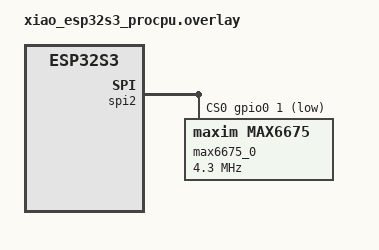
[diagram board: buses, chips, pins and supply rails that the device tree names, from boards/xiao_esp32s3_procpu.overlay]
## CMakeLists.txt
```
cmake_minimum_required(VERSION 3.20.0)

find_package(Zephyr REQUIRED HINTS $ENV{ZEPHYR_BASE})
project(horno_reflujo)

target_include_directories(app PRIVATE lib)

target_sources(app PRIVATE
	src/main.c
	lib/oven/oven_control.c
	lib/ble/oven_ble.c
	lib/drivers/thermocouple.c
)
```

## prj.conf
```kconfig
# --- Horno de reflujo SMD ---

# Logs
CONFIG_LOG=y
CONFIG_LOG_DEFAULT_LEVEL=3

# Configuración bluetooth
CONFIG_BT=y
CONFIG_BT_PERIPHERAL=y
CONFIG_BT_DEVICE_NAME="Test horno"

# Termocupla K + MAX6675 (SPI)
CONFIG_SPI=y
CONFIG_SENSOR=y
```

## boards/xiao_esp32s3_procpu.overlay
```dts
#include <zephyr/dt-bindings/gpio/gpio.h>

/*
 * Horno de reflujo SMD - termocupla tipo K via MAX6675 (SPI).
 *
 * El bus SPI (spi2, alias "xiao_spi") ya viene habilitado por la placa con
 * sus pines por defecto:
 *   SCLK = GPIO7  -> pin D8 del conector
 *   MISO = GPIO8  -> pin D9  (esta es la salida SO del MAX6675)
 *   MOSI = GPIO9  -> pin D10 (sin uso: el MAX6675 no tiene entrada de datos)
 * Lo unico que hace falta agregar aca es el Chip Select, que es especifico
 * de cada dispositivo SPI y no viene predefinido:
 *   CS   = GPIO1  -> pin D0
 *
 * Cableado al modulo MAX6675: VCC->3V3, GND->GND, SCK->D8, SO->D9, CS->D0.
 */

&spi2 {
	cs-gpios = <&gpio0 1 GPIO_ACTIVE_LOW>;

	max6675_0: max6675@0 {
		compatible = "maxim,max6675";
		reg = <0>;
		spi-max-frequency = <4300000>;
	};
};

/ {
	aliases {
		oven-temp = &max6675_0;
	};
};
```

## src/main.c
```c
/*
 * Horno de reflujo SMD - orquestador.
 *
 * La logica vive en lib/: lib/oven/ (maquina de estados + simulacion
 * termica, todavia sin sensor/SSR reales) y lib/ble/ (advertising,
 * servicio GATT, protocolo con la app - ver
 * docs/03-INTERFAZ-APP-FIRMWARE/protocolo.md). Este archivo solo
 * inicializa cada capa y corre el loop principal.
 */

#include <zephyr/kernel.h>
#include <zephyr/logging/log.h>

#include "ble/oven_ble.h"
#include "oven/oven_control.h"

LOG_MODULE_REGISTER(horno, LOG_LEVEL_INF);

int main(void)
{
	int err;
	int tick = 0;

	if (!oven_control_init()) {
		LOG_ERR("oven_control_init fallo (revisa la termocupla)");
	}

	err = oven_ble_init();
	if (err) {
		LOG_ERR("oven_ble_init fallo (err %d)", err);
	}

	while (true) {
		k_sleep(K_SECONDS(1));
		tick++;

		oven_tick();
		oven_ble_notify_estado();

		/* Salud: cada 2s */
		if (tick % 2 == 0) {
			oven_ble_notify_salud();
		}
	}

	return 0;
}
```
